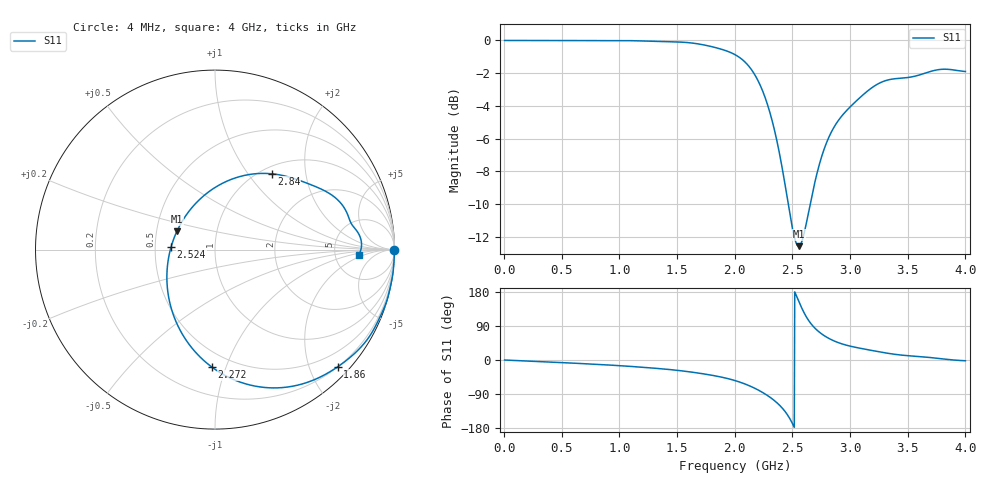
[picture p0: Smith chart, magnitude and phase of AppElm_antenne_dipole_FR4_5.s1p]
! TOUCHSTONE file generated by CST MICROWAVE STUDIO
! Date and time: Thu May 12 15:49:37 2022
! Project name: AppElm_antenne_dipole_FR4.cst
! Parameters = {L=36.86; e=0.035; f=2.45e+09; h=1.6; i=0.8; l1=4; lambda=122.449; ls=30; wl=1.7; ws=80}
! Header version: 2018
! Port assignment regex: !\s*Touchstone port\s*([0-9]+)\s*=\s*(CST MWS port|CST DS port)\s*([0-9]+|Zmin|Zmax)\s*\(\"(.*)\"\)(\s*mode\s*([0-9]+))?.*
! Touchstone port assignment:
! Touchstone port 1 = CST MWS port 1 ("")
# GHz S MA R 50
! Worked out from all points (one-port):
!   1000 points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, 4 MHz to 4 GHz, reference 50 ohm
!   lowest |S11| = -12.6 dB at 2.556 GHz (marker M1), VSWR 1.62, Z = 31.9 + j6.88 ohm
!   |S11| at or under -10 dB: 2.464 GHz to 2.654 GHz (190 MHz wide, 7.43 % of centre)
!   S11 on the Smith chart (normalised r, x): 4 MHz: open; 1.86 GHz: 0.20, -2.48; 2.272 GHz: 0.39, -0.90; 2.524 GHz: 0.61, +0.02; 2.84 GHz: 1.12, +1.31; 4 GHz: 8.97, -1.43
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0.004  0.9999 -0.1
0.504  0.9999 -6.9
1.004  0.9989 -15.0
1.504  0.9894 -27.4
1.688  0.9754 -34.7
1.86  0.9454 -43.6
2.004  0.9042 -54.5
2.088  0.8599 -63.2
2.152  0.8078 -71.5
2.212  0.741 -80.6
2.272  0.6559 -91.4
2.332  0.5548 -104.3
2.396  0.4363 -121.7
2.452  0.3355 -142.5
2.504  0.2626 -169.9
2.524  0.2455 177.0
2.556  0.2355 154.4
2.584  0.2449 135.2
2.624  0.2803 112.1
2.692  0.3658 85.0
2.76  0.4495 67.4
2.84  0.5273 53.2
2.916  0.5808 43.9
3.004  0.6287 36.3
3.268  0.7447 20.8
3.504  0.771 11.3
3.784  0.8159 3.5
4  0.804 -2.0
